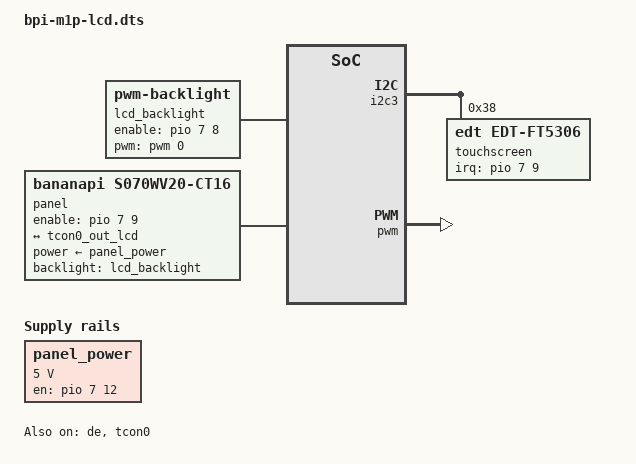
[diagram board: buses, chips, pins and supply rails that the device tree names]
// SPDX-License-Identifier: (GPL-2.0+ OR MIT)
//
// Bananapi 800x480 7" RGB LCD panel attached on LCD FPC connector.

/dts-v1/;
/plugin/;

#include <dt-bindings/gpio/gpio.h>
#include <dt-bindings/interrupt-controller/irq.h>
#include <dt-bindings/pwm/pwm.h>

&{/} {
	panel_power: panel-power {
		compatible = "regulator-fixed";
		regulator-name = "panel-power";
		regulator-min-microvolt = <5000000>;
		regulator-max-microvolt = <5000000>;
		gpio = <&pio 7 12 GPIO_ACTIVE_HIGH>;	/* PH12 */
		enable-active-high;
		regulator-boot-on;
	};

	lcd_backlight: lcd-backlight {
		compatible = "pwm-backlight";
		pwms = <&pwm 0 20000 PWM_POLARITY_INVERTED>; /* 50 kHz */
		enable-gpios = <&pio 7 8 GPIO_ACTIVE_HIGH>; /* PH8 */
		brightness-levels = <0 10 20 30 40 50 60 70 80 90 100>;
		default-brightness-level = <5>;
	};

	/* Panel node */
	panel: panel {
		compatible = "bananapi,s070wv20-ct16";

		power-supply = <&panel_power>;
		backlight = <&lcd_backlight>;

		/* Panel enable GPIO – on BPi LCD FPC this is usually PH9 */
		enable-gpios = <&pio 7 9 GPIO_ACTIVE_HIGH>; /* PH9 */

		#address-cells = <1>;
		#size-cells = <0>;

		port {
			#address-cells = <1>;
			#size-cells = <0>;

			/* Endpoint 0: panel input from TCON0 channel 0 */
			panel_in_tcon0: endpoint@0 {
				reg = <0>;
				remote-endpoint = <&tcon0_out_lcd>;
			};
		};
	};
};

&de {
	status = "okay";
};

/* Touchscreen FT5306 (same style as Armbian example) */
&i2c3 {
	status = "okay";
	pinctrl-names = "default";
	pinctrl-0 = <&i2c3_pins>;

	touchscreen@38 {
		compatible = "edt,edt-ft5306", "edt,edt-ft5x06";
		reg = <0x38>;

		interrupt-parent = <&pio>;
		interrupts = <7 9 IRQ_TYPE_EDGE_FALLING>; /* PH9 as IRQ */

		/* If you have a reset line routed, you can add it here.
		   Armbian example only uses PH7 as a GPIO-out in pinctrl. */

		touchscreen-size-x = <800>;
		touchscreen-size-y = <480>;
	};
};

&pio {
	lcd0_rgb888_pins: lcd0-rgb888-pins {
		pins = "PD0", "PD1", "PD2", "PD3", "PD4", "PD5", "PD6", "PD7",
		       "PD8", "PD9", "PD10", "PD11", "PD12", "PD13", "PD14",
		       "PD15", "PD16", "PD17", "PD18", "PD19", "PD20", "PD21",
		       "PD22", "PD23", "PD24", "PD25", "PD26", "PD27";
		function = "lcd0";
	};
	edt_ft5x06_pins_a: ft5_irq {
		pins = "PH9";
		function = "irq";
		drive-strength = <20>;
		bias-pull-up;
	};

	edt_ft5x06_pins_b: ft5_reset {
		pins = "PH7";
		function = "gpio_out";
		drive-strength = <20>;
		bias-pull-up;
		output-high;
	};
};

&pwm {
	pinctrl-names = "default";
	pinctrl-0 = <&pwm0_pin>;
	status = "okay";
};

&tcon0 {
	pinctrl-names = "default";
	pinctrl-0 = <&lcd0_rgb888_pins>;
	status = "okay";
};

&tcon0_out {
	tcon0_out_lcd: endpoint@0 {
		reg = <0>;
		remote-endpoint = <&panel_in_tcon0>;
	};
};
